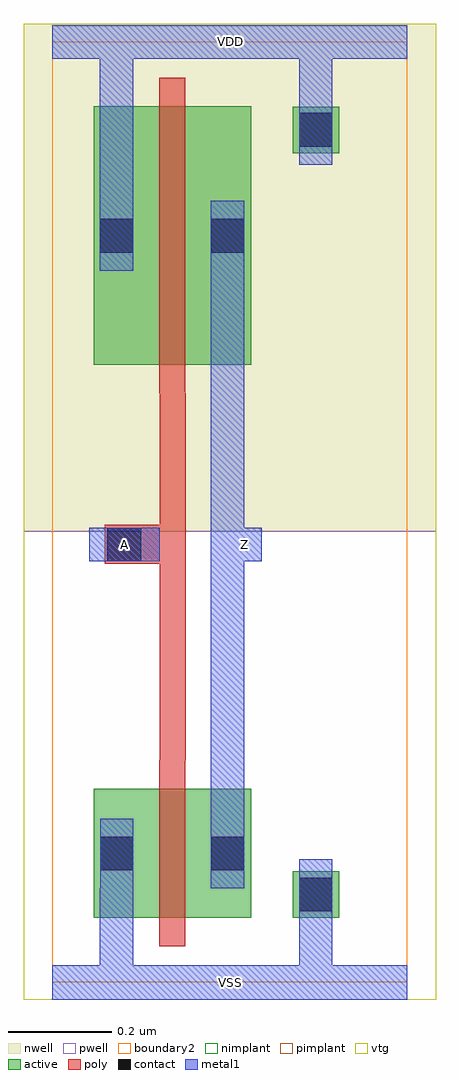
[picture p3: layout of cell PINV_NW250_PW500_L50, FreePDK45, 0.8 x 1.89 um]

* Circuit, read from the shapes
.subckt PINV_NW250_PW500_L50 A VDD VSS Z
M1 Z A VSS VSS nfet w=0.25u l=0.05u
M2 Z A VDD VDD pfet w=0.5u l=0.05u
.ends

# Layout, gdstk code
import gdstk
lib = gdstk.Library(unit=1e-6, precision=1e-09)
def R(c, l, rs):  # rectangles x0, y0, x1, y1
    for r in rs: c.add(gdstk.rectangle(r[:2], r[2:], *l))
active = (1, 0)
pwell = (2, 0)
nwell = (3, 0)
nimplant = (4, 0)
pimplant = (5, 0)
vtg = (6, 0)
poly = (9, 0)
contact = (10, 0)
metal1 = (11, 0)
boundary2 = (239, 0)

transmission_gate_nw250_ = lib.new_cell('TRANSMISSION_GATE_NW250_PW500_L50_contact_8')
R(transmission_gate_nw250_, active, [(0,0.022,0.09,0.112)])
R(transmission_gate_nw250_, nwell, [(-0.055,-0.033,0.145,0.168)])
R(transmission_gate_nw250_, pimplant, [(0,0.022,0.09,0.112)])
R(transmission_gate_nw250_, contact, [(0.013,0.035,0.077,0.1)])
R(transmission_gate_nw250_, metal1, [(0.013,0,0.077,0.135)])
R(transmission_gate_nw250_, boundary2, [(-0.055,-0.033,0.145,0.168)])

pinv_nw250_pw500_l50_pmo = lib.new_cell('PINV_NW250_PW500_L50_pmos_m1_w0_500_sm1_dm1_da_p')
R(pinv_nw250_pw500_l50_pmo, active, [(0,0,0.305,0.5)])
R(pinv_nw250_pw500_l50_pmo, nwell, [(-0.08,-0.08,0.385,0.58)])
R(pinv_nw250_pw500_l50_pmo, pimplant, [(0,0,0.305,0.5)])
R(pinv_nw250_pw500_l50_pmo, vtg, [(-0.08,-0.08,0.385,0.58)])
R(pinv_nw250_pw500_l50_pmo, poly, [(0.127,-0.055,0.177,0.555), (0.127,-0.055,0.177,0.555)])
R(pinv_nw250_pw500_l50_pmo, metal1, [(0.013,0.182,0.077,0.317), (0.227,0.182,0.292,0.317)])
R(pinv_nw250_pw500_l50_pmo, boundary2, [(-0.08,-0.08,0.385,0.58)])
pinv_nw250_pw500_l50_pmo.add(gdstk.Reference(transmission_gate_nw250_, (0,0.182)))
pinv_nw250_pw500_l50_pmo.add(gdstk.Reference(transmission_gate_nw250_, (0.215,0.182)))
pinv_nw250_pw500_l50_pmo.add(gdstk.Label('G', (0.152,0.25), layer=9, texttype=0))
pinv_nw250_pw500_l50_pmo.add(gdstk.Label('S', (0.045,0.25), layer=11, texttype=0))
pinv_nw250_pw500_l50_pmo.add(gdstk.Label('D', (0.26,0.25), layer=11, texttype=0))

c_transmission_gate_nw250_ = lib.new_cell('TRANSMISSION_GATE_NW250_PW500_L50_contact_7')
R(c_transmission_gate_nw250_, active, [(0,0.022,0.09,0.112)])
R(c_transmission_gate_nw250_, pwell, [(-0.055,-0.033,0.145,0.168)])
R(c_transmission_gate_nw250_, nimplant, [(0,0.022,0.09,0.112)])
R(c_transmission_gate_nw250_, contact, [(0.013,0.035,0.077,0.1)])
R(c_transmission_gate_nw250_, metal1, [(0.013,0,0.077,0.135)])
R(c_transmission_gate_nw250_, boundary2, [(-0.055,-0.033,0.145,0.168)])

pinv_nw250_pw500_l50_nmo = lib.new_cell('PINV_NW250_PW500_L50_nmos_m1_w0_250_sm1_dm1_da_p')
R(pinv_nw250_pw500_l50_nmo, active, [(0,0,0.305,0.25)])
R(pinv_nw250_pw500_l50_nmo, pwell, [(-0.08,-0.08,0.385,0.33)])
R(pinv_nw250_pw500_l50_nmo, nimplant, [(0,0,0.305,0.25)])
R(pinv_nw250_pw500_l50_nmo, vtg, [(-0.08,-0.08,0.385,0.33)])
R(pinv_nw250_pw500_l50_nmo, poly, [(0.127,-0.055,0.177,0.305), (0.127,-0.055,0.177,0.305)])
R(pinv_nw250_pw500_l50_nmo, metal1, [(0.013,0.057,0.077,0.192), (0.227,0.057,0.292,0.192)])
R(pinv_nw250_pw500_l50_nmo, boundary2, [(-0.08,-0.08,0.385,0.33)])
pinv_nw250_pw500_l50_nmo.add(gdstk.Reference(c_transmission_gate_nw250_, (0,0.057)))
pinv_nw250_pw500_l50_nmo.add(gdstk.Reference(c_transmission_gate_nw250_, (0.215,0.057)))
pinv_nw250_pw500_l50_nmo.add(gdstk.Label('G', (0.152,0.125), layer=9, texttype=0))
pinv_nw250_pw500_l50_nmo.add(gdstk.Label('S', (0.045,0.125), layer=11, texttype=0))
pinv_nw250_pw500_l50_nmo.add(gdstk.Label('D', (0.26,0.125), layer=11, texttype=0))

c_transmission_gate_nw250__ = lib.new_cell('TRANSMISSION_GATE_NW250_PW500_L50_contact_9')
R(c_transmission_gate_nw250__, active, [(0,0.022,0.09,0.112)])
R(c_transmission_gate_nw250__, nwell, [(-0.055,-0.033,0.145,0.168)])
R(c_transmission_gate_nw250__, nimplant, [(0,0.022,0.09,0.112)])
R(c_transmission_gate_nw250__, contact, [(0.013,0.035,0.077,0.1)])
R(c_transmission_gate_nw250__, metal1, [(0.013,0,0.077,0.135)])
R(c_transmission_gate_nw250__, boundary2, [(-0.055,-0.033,0.145,0.168)])

c_transmission_gate_nw250___ = lib.new_cell('TRANSMISSION_GATE_NW250_PW500_L50_contact_10')
R(c_transmission_gate_nw250___, active, [(0,0.022,0.09,0.112)])
R(c_transmission_gate_nw250___, pwell, [(-0.055,-0.033,0.145,0.168)])
R(c_transmission_gate_nw250___, pimplant, [(0,0.022,0.09,0.112)])
R(c_transmission_gate_nw250___, contact, [(0.013,0.035,0.077,0.1)])
R(c_transmission_gate_nw250___, metal1, [(0.013,0,0.077,0.135)])
R(c_transmission_gate_nw250___, boundary2, [(-0.055,-0.033,0.145,0.168)])

pinv_nw180_pw270_l50_con = lib.new_cell('PINV_NW180_PW270_L50_contact_11')
R(pinv_nw180_pw270_l50_con, poly, [(0.03,0,0.105,0.075)])
R(pinv_nw180_pw270_l50_con, contact, [(0.035,0.005,0.1,0.07)])
R(pinv_nw180_pw270_l50_con, metal1, [(0,0.005,0.135,0.07)])
R(pinv_nw180_pw270_l50_con, boundary2, [(0,0,0.135,0.075)])

pinv_nw250_pw500_l50_cor = lib.new_cell('PINV_NW250_PW500_L50_core')
R(pinv_nw250_pw500_l50_cor, pwell, [(-0.055,-0.033,0.743,0.873)])
R(pinv_nw250_pw500_l50_cor, nwell, [(-0.055,0.873,0.743,1.855)])
R(pinv_nw250_pw500_l50_cor, vtg, [(-0.055,-0.033,0.743,0.873), (-0.055,0.873,0.743,1.855)])
R(pinv_nw250_pw500_l50_cor, poly, [(0.208,0.43,0.258,1.14), (0.14,0.81,0.208,0.885)])
R(pinv_nw250_pw500_l50_cor, metal1, [(0,-0.033,0.687,0.033), (0.092,-0.033,0.157,0.182), (0.478,0,0.542,0.17), (0.307,0.182,0.372,1.512), (0.072,0.815,0.208,0.88), (0.34,0.815,0.405,0.88), (0.092,1.377,0.157,1.852), (0.478,1.65,0.542,1.82), (0,1.787,0.687,1.852)])
R(pinv_nw250_pw500_l50_cor, boundary2, [(0,0,0.687,1.82), (0,0,0.687,1.82)])
pinv_nw250_pw500_l50_cor.add(gdstk.Reference(pinv_nw250_pw500_l50_pmo, (0.08,1.195)))
pinv_nw250_pw500_l50_cor.add(gdstk.Reference(pinv_nw250_pw500_l50_nmo, (0.08,0.125)))
pinv_nw250_pw500_l50_cor.add(gdstk.Reference(c_transmission_gate_nw250__, (0.465,1.582)))
pinv_nw250_pw500_l50_cor.add(gdstk.Reference(c_transmission_gate_nw250___, (0.465,0.103)))
pinv_nw250_pw500_l50_cor.add(gdstk.Reference(pinv_nw180_pw270_l50_con, (0.072,0.81)))
pinv_nw250_pw500_l50_cor.add(gdstk.Label('A', (0.14,0.847), layer=11, texttype=0))
pinv_nw250_pw500_l50_cor.add(gdstk.Label('Z', (0.372,0.847), layer=11, texttype=0))
pinv_nw250_pw500_l50_cor.add(gdstk.Label('gnd', (0.344,0), layer=11, texttype=0))
pinv_nw250_pw500_l50_cor.add(gdstk.Label('vdd', (0.344,1.82), layer=11, texttype=0))

pinv_nw250_pw500_l50 = lib.new_cell('PINV_NW250_PW500_L50')
R(pinv_nw250_pw500_l50, metal1, [(0,-0.033,0.687,0.033), (0.072,0.815,0.208,0.88), (0.34,0.815,0.405,0.88), (0,1.787,0.687,1.852)])
R(pinv_nw250_pw500_l50, boundary2, [(0,0,0.687,1.82)])
pinv_nw250_pw500_l50.add(gdstk.Reference(pinv_nw250_pw500_l50_cor, (0,0)))
pinv_nw250_pw500_l50.add(gdstk.Label('A', (0.14,0.847), layer=11, texttype=0))
pinv_nw250_pw500_l50.add(gdstk.Label('Z', (0.372,0.847), layer=11, texttype=0))
pinv_nw250_pw500_l50.add(gdstk.Label('VDD', (0.344,1.82), layer=11, texttype=0))
pinv_nw250_pw500_l50.add(gdstk.Label('VSS', (0.344,0), layer=11, texttype=0))

lib.write_gds('PINV_NW250_PW500_L50.gds')
